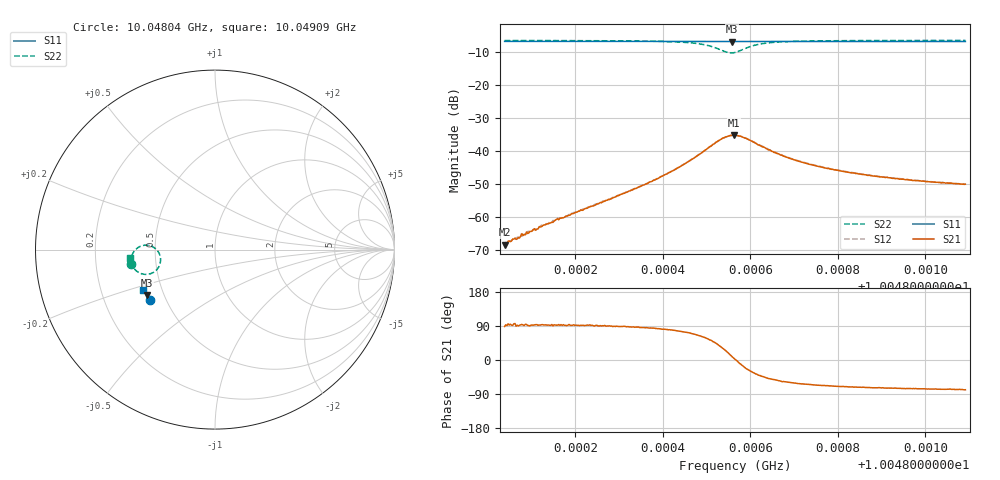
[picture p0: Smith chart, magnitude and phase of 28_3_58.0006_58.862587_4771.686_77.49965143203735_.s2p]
#  HZ  S  RI  R  50.00
! Rohde & Schwarz Vector Network Analyzer
! Rohde-Schwarz,ZNB20-2Port,1311601062101988,3.16
! Created: UTC 3/21/2024, 12:51:29 AM
! freq[Hz]  re:S11  im:S11  re:S21  im:S21  re:S12  im:S12  re:S22  im:S22
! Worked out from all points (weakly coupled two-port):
!   401 points, 10.04804 GHz to 10.04909 GHz, reference 50 ohm
!   highest |S21| = -35.21 dB at 10.04856 GHz (marker M1); lowest = -68.4 dB at 10.04804 GHz (marker M2)
!   lowest |S11| = -6.8 dB at 10.04856 GHz (marker M3), VSWR 2.68, Z = 20.1 - j12.8 ohm
!   |S11| at or under -10 dB: nowhere
!   |S22| runs from -10.3 to -6.5 dB; largest |S21 - S12| = 0.0013
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1.0048038e10  -0.3627 -0.2821  1.12e-05 0.000379  -5e-05 0.00039  -0.4668 -0.0806
1.0048046e10  -0.363 -0.2816  -4.12e-05 0.000424  -2.96e-05 0.000391  -0.4669 -0.0797
1.0048054e10  -0.3633 -0.2813  -1.43e-05 0.00043  -2.29e-05 0.000438  -0.467 -0.079
1.0048096e10  -0.365 -0.279  5.03e-07 0.000601  -7.62e-05 0.000618  -0.4673 -0.0747
1.004816e10  -0.3673 -0.2755  -3.08e-05 0.000934  -0.000118 0.000951  -0.4676 -0.0675
1.0048215e10  -0.3695 -0.2726  -2.88e-05 0.00125  -0.0001 0.00128  -0.4675 -0.0604
1.0048315e10  -0.3733 -0.2668  6.11e-05 0.00233  -6.64e-05 0.00236  -0.4655 -0.0438
1.0048391e10  -0.3762 -0.2625  0.000498 0.00386  0.000297 0.00392  -0.4595 -0.0246
1.0048449e10  -0.3782 -0.259  0.00176 0.00607  0.00142 0.00618  -0.4444 -0.00167
1.0048486e10  -0.3794 -0.2566  0.00406 0.00813  0.00362 0.00839  -0.4187 0.0171
1.0048515e10  -0.3798 -0.2548  0.00839 0.00942  0.0077 0.00987  -0.3769 0.0243
1.0048539e10  -0.3801 -0.2536  0.0137 0.00777  0.0132 0.00851  -0.3279 0.00194
1.0048557e10  -0.3802 -0.2529  0.0169 0.00312  0.0166 0.00406  -0.3036 -0.0454
1.0048562e10  -0.3804 -0.2529  0.0173 0.00135  0.0171 0.00262  -0.303 -0.0616
1.0048565e10  -0.3805 -0.2528  0.0174 0.000556  0.0171 0.00184  -0.3041 -0.0694
1.0048594e10  -0.3818 -0.252  0.0137 -0.00631  0.0141 -0.00533  -0.3478 -0.1297
1.0048631e10  -0.3837 -0.2501  0.00815 -0.00803  0.0086 -0.00753  -0.4055 -0.1356
1.0048681e10  -0.3857 -0.2474  0.00432 -0.00686  0.00484 -0.00666  -0.4404 -0.1166
1.0048741e10  -0.3881 -0.2437  0.00256 -0.00558  0.00294 -0.00547  -0.4563 -0.0973
1.0048826e10  -0.3909 -0.2389  0.00154 -0.00444  0.00184 -0.00442  -0.4646 -0.0794
1.0048918e10  -0.3939 -0.2334  0.00107 -0.00377  0.00129 -0.00373  -0.4687 -0.0659
1.0049091e10  -0.3996 -0.2233  0.000624 -0.00307  0.000824 -0.003  -0.4721 -0.0467
